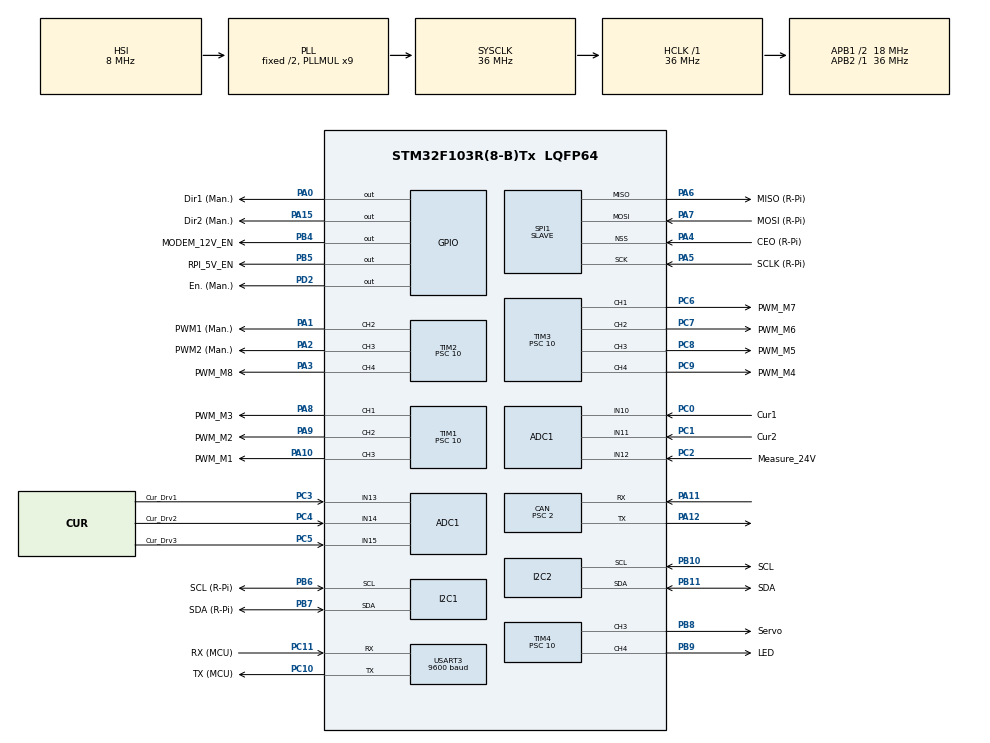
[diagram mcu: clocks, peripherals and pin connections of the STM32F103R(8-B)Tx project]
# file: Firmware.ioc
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ADC1.Channel-2\#ChannelRegularConversion=ADC_CHANNEL_10
ADC1.Channel-3\#ChannelRegularConversion=ADC_CHANNEL_11
ADC1.Channel-4\#ChannelRegularConversion=ADC_CHANNEL_12
ADC1.Channel-5\#ChannelRegularConversion=ADC_CHANNEL_13
ADC1.Channel-6\#ChannelRegularConversion=ADC_CHANNEL_14
ADC1.Channel-7\#ChannelRegularConversion=ADC_CHANNEL_15
ADC1.NbrOfConversion=6
ADC1.NbrOfConversionFlag=1
ADC1.Rank-2\#ChannelRegularConversion=1
ADC1.Rank-3\#ChannelRegularConversion=2
ADC1.Rank-4\#ChannelRegularConversion=3
ADC1.Rank-5\#ChannelRegularConversion=4
ADC1.Rank-6\#ChannelRegularConversion=5
ADC1.Rank-7\#ChannelRegularConversion=6
ADC1.SamplingTime-2\#ChannelRegularConversion=ADC_SAMPLETIME_28CYCLES_5
ADC1.SamplingTime-3\#ChannelRegularConversion=ADC_SAMPLETIME_28CYCLES_5
ADC1.SamplingTime-4\#ChannelRegularConversion=ADC_SAMPLETIME_28CYCLES_5
ADC1.SamplingTime-5\#ChannelRegularConversion=ADC_SAMPLETIME_28CYCLES_5
ADC1.SamplingTime-6\#ChannelRegularConversion=ADC_SAMPLETIME_28CYCLES_5
ADC1.SamplingTime-7\#ChannelRegularConversion=ADC_SAMPLETIME_28CYCLES_5
ADC1.master=1
CAN.BS1=CAN_BS1_7TQ
CAN.CalculateBaudRate=1000000
CAN.CalculateTimeBit=1000
CAN.CalculateTimeQuantum=111.11111111111111
CAN.Mode=CAN_MODE_NORMAL
CAN.Prescaler=2
CAN.SJW=CAN_SJW_1TQ
Dma.ADC1.0.Direction=DMA_PERIPH_TO_MEMORY
Dma.ADC1.0.Instance=DMA1_Channel1
Dma.ADC1.0.MemDataAlignment=DMA_MDATAALIGN_HALFWORD
Dma.ADC1.0.MemInc=DMA_MINC_ENABLE
Dma.ADC1.0.Mode=DMA_NORMAL
Dma.ADC1.0.PeriphDataAlignment=DMA_PDATAALIGN_HALFWORD
Dma.ADC1.0.PeriphInc=DMA_PINC_DISABLE
Dma.ADC1.0.Priority=DMA_PRIORITY_LOW
Dma.Request0=ADC1
Dma.Request1=SPI1_TX
Dma.Request2=SPI1_RX
Dma.SPI1_RX.2.Direction=DMA_PERIPH_TO_MEMORY
Dma.SPI1_RX.2.Instance=DMA1_Channel2
Dma.SPI1_RX.2.MemDataAlignment=DMA_MDATAALIGN_BYTE
Dma.SPI1_RX.2.MemInc=DMA_MINC_ENABLE
Dma.SPI1_RX.2.Mode=DMA_NORMAL
Dma.SPI1_RX.2.PeriphDataAlignment=DMA_PDATAALIGN_BYTE
Dma.SPI1_RX.2.PeriphInc=DMA_PINC_DISABLE
Dma.SPI1_RX.2.Priority=DMA_PRIORITY_VERY_HIGH
Dma.SPI1_TX.1.Direction=DMA_MEMORY_TO_PERIPH
Dma.SPI1_TX.1.Instance=DMA1_Channel3
Dma.SPI1_TX.1.MemDataAlignment=DMA_MDATAALIGN_BYTE
Dma.SPI1_TX.1.MemInc=DMA_MINC_ENABLE
Dma.SPI1_TX.1.Mode=DMA_NORMAL
Dma.SPI1_TX.1.PeriphDataAlignment=DMA_PDATAALIGN_BYTE
Dma.SPI1_TX.1.PeriphInc=DMA_PINC_DISABLE
Dma.SPI1_TX.1.Priority=DMA_PRIORITY_VERY_HIGH
Mcu.Family=STM32F1
Mcu.Name=STM32F103R(8-B)Tx
Mcu.Package=LQFP64
NVIC.DMA1_Channel1_IRQn=true\:0\:0\:false\:false\:true\:false\:true\:true
NVIC.DMA1_Channel2_IRQn=true\:0\:0\:false\:false\:true\:false\:true\:true
NVIC.DMA1_Channel3_IRQn=true\:0\:0\:false\:false\:true\:false\:true\:true
NVIC.I2C1_ER_IRQn=true\:0\:0\:false\:false\:true\:true\:true\:true
NVIC.I2C1_EV_IRQn=true\:0\:0\:false\:false\:true\:true\:true\:true
NVIC.I2C2_ER_IRQn=true\:0\:0\:false\:false\:true\:true\:true\:true
NVIC.I2C2_EV_IRQn=true\:0\:0\:false\:false\:true\:true\:true\:true
NVIC.PriorityGroup=NVIC_PRIORITYGROUP_4
NVIC.USART3_IRQn=true\:0\:0\:false\:false\:true\:true\:true\:true
NVIC.USB_LP_CAN1_RX0_IRQn=true\:0\:0\:false\:false\:true\:true\:true\:true
PA0-WKUP.GPIO_Label=Dir1 (Man.)
PA0-WKUP.Signal=GPIO_Output
PA1.GPIO_Label=PWM1 (Man.)
PA1.GPIO_Speed=GPIO_SPEED_FREQ_HIGH
PA1.Signal=S_TIM2_CH2
PA10.GPIO_Label=PWM_M1
PA10.GPIO_Speed=GPIO_SPEED_FREQ_HIGH
PA10.Signal=S_TIM1_CH3
PA11.Mode=CAN_Activate
PA11.Signal=CAN_RX
PA12.Mode=CAN_Activate
PA12.Signal=CAN_TX
PA13.Mode=Serial_Wire
PA13.Signal=SYS_JTMS-SWDIO
PA14.Mode=Serial_Wire
PA14.Signal=SYS_JTCK-SWCLK
PA15.GPIO_Label=Dir2 (Man.)
PA15.Signal=GPIO_Output
PA2.GPIO_Label=PWM2 (Man.)
PA2.GPIO_Speed=GPIO_SPEED_FREQ_HIGH
PA2.Signal=S_TIM2_CH3
PA3.GPIO_Label=PWM_M8
PA3.GPIO_Speed=GPIO_SPEED_FREQ_HIGH
PA3.Signal=S_TIM2_CH4
PA4.GPIO_Label=CEO (R-Pi)
PA4.Mode=NSS_Signal_Hard_Input
PA4.Signal=SPI1_NSS
PA5.GPIO_Label=SCLK (R-Pi)
PA5.Mode=Full_Duplex_Slave
PA5.Signal=SPI1_SCK
PA6.GPIO_Label=MISO (R-Pi)
PA6.Mode=Full_Duplex_Slave
PA6.Signal=SPI1_MISO
PA7.GPIO_Label=MOSI (R-Pi)
PA7.Mode=Full_Duplex_Slave
PA7.Signal=SPI1_MOSI
PA8.GPIO_Label=PWM_M3
PA8.GPIO_Speed=GPIO_SPEED_FREQ_HIGH
PA8.Signal=S_TIM1_CH1
PA9.GPIO_Label=PWM_M2
PA9.GPIO_Speed=GPIO_SPEED_FREQ_HIGH
PA9.Signal=S_TIM1_CH2
PB10.GPIO_Label=SCL
PB10.Mode=I2C
PB10.Signal=I2C2_SCL
PB11.GPIO_Label=SDA
PB11.Mode=I2C
PB11.Signal=I2C2_SDA
PB4.GPIO_Label=MODEM_12V_EN
PB4.Signal=GPIO_Output
PB5.GPIO_Label=RPI_5V_EN
PB5.Signal=GPIO_Output
PB6.GPIO_Label=SCL (R-Pi)
PB6.Mode=I2C
PB6.Signal=I2C1_SCL
PB7.GPIO_Label=SDA (R-Pi)
PB7.Mode=I2C
PB7.Signal=I2C1_SDA
PB8.GPIO_Label=Servo
PB8.GPIO_Speed=GPIO_SPEED_FREQ_HIGH
PB8.Signal=S_TIM4_CH3
PB9.GPIO_Label=LED
PB9.GPIO_Speed=GPIO_SPEED_FREQ_HIGH
PB9.Signal=S_TIM4_CH4
PC0.GPIO_Label=Cur1
PC0.Signal=ADCx_IN10
PC1.GPIO_Label=Cur2
PC1.Signal=ADCx_IN11
PC10.GPIO_Label=TX (MCU)
PC10.Mode=Asynchronous
PC10.Signal=USART3_TX
PC11.GPIO_Label=RX (MCU)
PC11.Mode=Asynchronous
PC11.Signal=USART3_RX
PC2.GPIO_Label=Measure_24V
PC2.Signal=ADCx_IN12
PC3.GPIO_Label=Cur_Drv1
PC3.Signal=ADCx_IN13
PC4.GPIO_Label=Cur_Drv2
PC4.Signal=ADCx_IN14
PC5.GPIO_Label=Cur_Drv3
PC5.Signal=ADCx_IN15
PC6.GPIO_Label=PWM_M7
PC6.GPIO_Speed=GPIO_SPEED_FREQ_HIGH
PC6.Signal=S_TIM3_CH1
PC7.GPIO_Label=PWM_M6
PC7.GPIO_Speed=GPIO_SPEED_FREQ_HIGH
PC7.Signal=S_TIM3_CH2
PC8.GPIO_Label=PWM_M5
PC8.GPIO_Speed=GPIO_SPEED_FREQ_HIGH
PC8.Signal=S_TIM3_CH3
PC9.GPIO_Label=PWM_M4
PC9.GPIO_Speed=GPIO_SPEED_FREQ_HIGH
PC9.Signal=S_TIM3_CH4
PD2.GPIO_Label=En. (Man.)
PD2.Signal=GPIO_Output
ProjectManager.HeapSize=0x200
ProjectManager.StackSize=0x400
ProjectManager.TargetToolchain=MDK-ARM V5.32
RCC.ADCPresc=RCC_ADCPCLK2_DIV4
RCC.AHBFreq_Value=36000000
RCC.APB1CLKDivider=RCC_HCLK_DIV2
RCC.APB1Freq_Value=18000000
RCC.APB1TimFreq_Value=36000000
RCC.APB2Freq_Value=36000000
RCC.APB2TimFreq_Value=36000000
RCC.HCLKFreq_Value=36000000
RCC.PLLMUL=RCC_PLL_MUL9
RCC.SYSCLKFreq_VALUE=36000000
RCC.SYSCLKSource=RCC_SYSCLKSOURCE_PLLCLK
RCC.USBFreq_Value=36000000
SH.ADCx_IN10.0=ADC1_IN10,IN10
SH.ADCx_IN11.0=ADC1_IN11,IN11
SH.ADCx_IN12.0=ADC1_IN12,IN12
SH.ADCx_IN13.0=ADC1_IN13,IN13
SH.ADCx_IN14.0=ADC1_IN14,IN14
SH.ADCx_IN15.0=ADC1_IN15,IN15
SH.S_TIM1_CH1.0=TIM1_CH1,PWM Generation1 CH1
SH.S_TIM1_CH2.0=TIM1_CH2,PWM Generation2 CH2
SH.S_TIM1_CH3.0=TIM1_CH3,PWM Generation3 CH3
SH.S_TIM2_CH2.0=TIM2_CH2,PWM Generation2 CH2
SH.S_TIM2_CH3.0=TIM2_CH3,PWM Generation3 CH3
SH.S_TIM2_CH4.0=TIM2_CH4,PWM Generation4 CH4
SH.S_TIM3_CH1.0=TIM3_CH1,PWM Generation1 CH1
SH.S_TIM3_CH2.0=TIM3_CH2,PWM Generation2 CH2
SH.S_TIM3_CH3.0=TIM3_CH3,PWM Generation3 CH3
SH.S_TIM3_CH4.0=TIM3_CH4,PWM Generation4 CH4
SH.S_TIM4_CH3.0=TIM4_CH3,PWM Generation3 CH3
SH.S_TIM4_CH4.0=TIM4_CH4,PWM Generation4 CH4
SPI1.Direction=SPI_DIRECTION_2LINES
SPI1.Mode=SPI_MODE_SLAVE
SPI1.VirtualNSS=VM_NSSHARD
SPI1.VirtualType=VM_SLAVE
TIM1.Channel-PWM\ Generation1\ CH1=TIM_CHANNEL_1
TIM1.Channel-PWM\ Generation2\ CH2=TIM_CHANNEL_2
TIM1.Channel-PWM\ Generation3\ CH3=TIM_CHANNEL_3
TIM1.Prescaler=10
TIM2.Channel-PWM\ Generation2\ CH2=TIM_CHANNEL_2
TIM2.Channel-PWM\ Generation3\ CH3=TIM_CHANNEL_3
TIM2.Channel-PWM\ Generation4\ CH4=TIM_CHANNEL_4
TIM2.Prescaler=10
TIM3.Channel-PWM\ Generation1\ CH1=TIM_CHANNEL_1
TIM3.Channel-PWM\ Generation2\ CH2=TIM_CHANNEL_2
TIM3.Channel-PWM\ Generation3\ CH3=TIM_CHANNEL_3
TIM3.Channel-PWM\ Generation4\ CH4=TIM_CHANNEL_4
TIM3.Prescaler=10
TIM4.Channel-PWM\ Generation3\ CH3=TIM_CHANNEL_3
TIM4.Channel-PWM\ Generation4\ CH4=TIM_CHANNEL_4
TIM4.Prescaler=10
USART3.BaudRate=9600
USART3.VirtualMode=VM_ASYNC
VP_TIM1_VS_ClockSourceINT.Mode=Internal
VP_TIM2_VS_ClockSourceINT.Mode=Internal
VP_TIM3_VS_ClockSourceINT.Mode=Internal
VP_TIM4_VS_ClockSourceINT.Mode=Internal
board=custom

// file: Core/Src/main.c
/* USER CODE BEGIN Header */
/**
  ******************************************************************************
  * @file           : main.c
  * @brief          : Main program body
  ******************************************************************************
  * @attention
  *
  * Copyright (c) 2024 STMicroelectronics.
  * All rights reserved.
  *
  * This software is licensed under terms that can be found in the LICENSE file
  * in the root directory of this software component.
  * If no LICENSE file comes with this software, it is provided AS-IS.
  *
  ******************************************************************************
  */
/* USER CODE END Header */
#include "main.h"

/* USER CODE BEGIN Includes */
#include <stdio.h>
#include <string.h>
#include <stdbool.h>

#include "lsm6ds33.h"
#include "lis3mdl.h"
#include "minimu9.h"
/* USER CODE END Includes */

/* USER CODE BEGIN PTD */
// #define FOC_DRIVERS_MODE
// #define HYBRID_ROV_MODE

#define MAX_FLOAT16 (128.0f)
#define MIN_FLOAT16 (-MAX_FLOAT16)

#define UWMANIPULATOR_RPDO_COB_ID (0x200)
#define UWMANIPULATOR_CMD_ESC_FREQ (0x20)
#define UWMANIPULATOR_CMD_ESC_RPM (0x24)
#define UWMANIPULATOR_CMD_SERVO (0x30)
#define UWMANIPULATOR_CMD_SERVO_STEPPER (0x38)
#define UWMANIPULATOR_CMD_CURRENT (0x10)
#define UWMANIPULATOR_CMD_TORGUE (0x14)

#define UWMANIPULATOR_UNITS 3

typedef enum
{
  UWMANIPULATOR_GRIP_OPEN = 0,
  UWMANIPULATOR_GRIP_CLOSE = 1,
  UWMANIPULATOR_GRIP_STOP = 2,
} UWManipulator_GripStateTypeDef;

typedef struct
{
  struct
  {
    uint16_t fault_bits;
    float voltage_dc;
    float electrical_freq;
  } id18x_data[UWMANIPULATOR_UNITS];
  struct
  {
    float electrical_position;
    float workzone_counts;
  } id28x_data[UWMANIPULATOR_UNITS];
  struct
  {
    float phase_a_current;
    float phase_b_current;
  } id38x_data[UWMANIPULATOR_UNITS];
  float q[UWMANIPULATOR_UNITS];
  UWManipulator_GripStateTypeDef grip_state;
} UWManipulator_HandleTypeDef;

typedef struct __attribute__((packed))
{
  uint8_t MagicStart;
  uint64_t Flags;

  float DesMotServo[6];
  float DesCamServo;
  float DesLED[2];

#ifdef HYBRID_ROV_MODE
  float DesManQ[3];
  uint8_t DesManGripState;
  uint8_t Padding[141];
#else
  uint8_t Padding[154];
#endif

  uint8_t MagicEnd;
} SPI_ControlPackageTypeDef;

typedef struct __attribute__((packed))
{
  uint8_t MagicStart;
  uint64_t Flags;

  float IMUEuler[3];
  float IMUAccel[3];
  float IMUGyro[3];
  float IMUMagnet[3];
  float CurrentGeneral;
  float CurrentLightLeft;
  float CurrentLightRight;
  float Voltage24V;

  struct __attribute__((packed))
  {
    float Ia;
    float Ib;
    float Ic;
  } MotTelemetry[6];

#ifdef HYBRID_ROV_MODE
  struct __attribute__((packed))
  {
    float Ia;
    float Ib;
    float Voltage;
    float q;
  } ManTelemetry[3];
  uint8_t Padding[6];
#else
  uint8_t Padding[54];
#endif

  uint8_t MagicEnd;
} SPI_TelemetryPackageTypeDef;
/* USER CODE END PTD */

/* USER CODE BEGIN PD */
#define ADC_CHANNELS_NUM 6

#define SPI_BUFFER_SIZE sizeof(SPI_ControlPackageTypeDef)

#define SPI_CONTROL_PACKAGE_DES_MOT_SERVOx_FLAG (1 << 0)
#define SPI_CONTROL_PACKAGE_DES_CAM_SERVO_FLAG (1 << 1)
#define SPI_CONTROL_PACKAGE_DES_LED_FLAG (1 << 2)

#define SPI_CONTROL_PACKAGE_DES_MAN_Qx_FLAG(x) (1 << (3 + x))
#define SPI_CONTROL_PACKAGE_DES_MAN_GRIP_FLAG (1 << 6)

#define SPI_TELEMETRY_PACKAGE_IMU_EULERx_FLAG (1 << 0)
#define SPI_TELEMETRY_PACKAGE_IMU_ACCELx_FLAG (1 << 1)
#define SPI_TELEMETRY_PACKAGE_IMU_GYROx_FLAG (1 << 2)
#define SPI_TELEMETRY_PACKAGE_IMU_MAGNETx_FLAG (1 << 3)
#define SPI_TELEMETRY_PACKAGE_CURRENT_GENERAL_FLAG (1 << 4)
#define SPI_TELEMETRY_PACKAGE_CURRENT_LIGHT_LEFT_FLAG (1 << 5)
#define SPI_TELEMETRY_PACKAGE_CURRENT_LIGHT_RIGHT_FLAG (1 << 6)
#define SPI_TELEMETRY_PACKAGE_VOLTAGE_24V_FLAG (1 << 7)

#define SPI_TELEMETRY_PACKAGE_MOTx_PHASE_A_FLAG(x) (1 << (8 + x))
#define SPI_TELEMETRY_PACKAGE_MOTx_PHASE_B_FLAG(x) (1 << (14 + x))
#define SPI_TELEMETRY_PACKAGE_MOTx_PHASE_C_FLAG(x) (1 << (20 + x))

#ifdef HYBRID_ROV_MODE
#define SPI_TELEMETRY_PACKAGE_MAN_UNITx_VOLTAGE_FLAG(x) (1 << (26 + x))
#define SPI_TELEMETRY_PACKAGE_MAN_UNITx_PHASES_A_B_FLAG(x) (1 << (29 + x))
#define SPI_TELEMETRY_PACKAGE_MAN_UNITx_ANGLE_FLAG(x) (1 << (32 + x))
#endif
/* USER CODE END PD */

ADC_HandleTypeDef hadc1;
DMA_HandleTypeDef hdma_adc1;

CAN_HandleTypeDef hcan;

I2C_HandleTypeDef hi2c1;
I2C_HandleTypeDef hi2c2;

SPI_HandleTypeDef hspi1;
DMA_HandleTypeDef hdma_spi1_tx;
DMA_HandleTypeDef hdma_spi1_rx;

TIM_HandleTypeDef htim1;
TIM_HandleTypeDef htim2;
TIM_HandleTypeDef htim3;
TIM_HandleTypeDef htim4;

UART_HandleTypeDef huart3;

/* USER CODE BEGIN PV */
LSM6_HandleTypeDef hlsm6;
LIS3MDL_HandleTypeDef hlis3mdl;
MINIMU9_HandleTypeDef hminimu9;
UWManipulator_HandleTypeDef huwman;

static SPI_ControlPackageTypeDef spiRxData = {0};
static SPI_TelemetryPackageTypeDef spiTxData = {0};
static bool spiTxRxCpltStatus = true;

static uint16_t adcData[ADC_CHANNELS_NUM];
static bool adcConvCpltStatus = true;
/* USER CODE END PV */

void SystemClock_Config(void);
static void MX_GPIO_Init(void);
static void MX_DMA_Init(void);
static void MX_SPI1_Init(void);
static void MX_I2C1_Init(void);
static void MX_I2C2_Init(void);
static void MX_TIM1_Init(void);
static void MX_TIM2_Init(void);
static void MX_TIM3_Init(void);
static void MX_TIM4_Init(void);
static void MX_USART3_UART_Init(void);
static void MX_CAN_Init(void);
static void MX_ADC1_Init(void);
/* USER CODE BEGIN PFP */
int stdout_putchar(int ch);

static float Clamp(float value, float min, float max);

static uint16_t DutyCycleToCCRx(float duty);

static uint16_t ServoLoadToCCRx(float load);

void PWM_MOT1_SetServo(float load);
void PWM_MOT2_SetServo(float load);
void PWM_MOT3_SetServo(float load);
void PWM_MOT4_SetServo(float load);
void PWM_MOT5_SetServo(float load);
void PWM_MOT6_SetServo(float load);
void PWM_MOT7_SetServo(float load);
void PWM_MOT8_SetServo(float load);
HAL_StatusTypeDef PWM_MOTx_SetServo(uint8_t idx, float load);

void PWM_MAN1_SetDutyCycle(float duty);
void PWM_MAN2_SetDutyCycle(float duty);

void PWM_LED_SetDutyCycle(float duty);

void PWM_SERVO_SetServo(float load);

HAL_StatusTypeDef PACKAGE_GetDesMotCtrl(SPI_ControlPackageTypeDef *package,
                                        float servo[6]);
HAL_StatusTypeDef PACKAGE_GetDesCamServo(SPI_ControlPackageTypeDef *package,
                                         float *servo);
HAL_StatusTypeDef PACKAGE_GetDesLED(SPI_ControlPackageTypeDef *package,
                                    float led[2]);

#ifdef HYBRID_ROV_MODE
HAL_StatusTypeDef PACKAGE_GetDesManQ(SPI_ControlPackageTypeDef *package,
                                     uint8_t unit, float *q);
HAL_StatusTypeDef PACKAGE_GetDesManGripState(SPI_ControlPackageTypeDef *package,
                                             uint8_t *state);
#endif

HAL_StatusTypeDef PACKAGE_SetIMUEuler(SPI_TelemetryPackageTypeDef *package,
                                      float euler[3]);
HAL_StatusTypeDef PACKAGE_SetIMUAccel(SPI_TelemetryPackageTypeDef *package,
                                      float accel[3]);
HAL_StatusTypeDef PACKAGE_SetIMUGyro(SPI_TelemetryPackageTypeDef *package,
                                     float gyro[3]);
HAL_StatusTypeDef PACKAGE_SetIMUMagnet(SPI_TelemetryPackageTypeDef *package,
                                       float magnet[3]);
HAL_StatusTypeDef PACKAGE_SetCurrentGeneral(SPI_TelemetryPackageTypeDef *package,
                                            float current);
HAL_StatusTypeDef PACKAGE_SetCurrentLightLeft(
    SPI_TelemetryPackageTypeDef *package, float current);
HAL_StatusTypeDef PACKAGE_SetCurrentLightRight(
    SPI_TelemetryPackageTypeDef *package, float current);
HAL_StatusTypeDef PACKAGE_SetVoltage24V(SPI_TelemetryPackageTypeDef *package,
                                        float voltage);

#ifdef HYBRID_ROV_MODE
HAL_StatusTypeDef PACKAGE_SetMotCurrentPhaseA(
    SPI_TelemetryPackageTypeDef *package, uint8_t unit, float current);
HAL_StatusTypeDef PACKAGE_SetMotCurrentPhaseB(
    SPI_TelemetryPackageTypeDef *package, uint8_t unit, float current);
HAL_StatusTypeDef PACKAGE_SetMotCurrentPhaseC(
    SPI_TelemetryPackageTypeDef *package, uint8_t unit, float current);
HAL_StatusTypeDef PACKAGE_SetManVoltage(SPI_TelemetryPackageTypeDef *package,
                                        uint8_t unit, float voltage);
HAL_StatusTypeDef PACKAGE_SetManCurrents(SPI_TelemetryPackageTypeDef *package,
                                         uint8_t unit, float current[2]);
HAL_StatusTypeDef PACKAGE_SetManQ(SPI_TelemetryPackageTypeDef *package,
                                  uint8_t unit, float q);
#endif

HAL_StatusTypeDef PACKAGE_TelemetryPackageInit(
    SPI_TelemetryPackageTypeDef *package);

#ifdef HYBRID_ROV_MODE
static HAL_StatusTypeDef UWManipulator_SetRPM(UWManipulator_HandleTypeDef *huwman,
                                              uint8_t unit, float rpm);
static HAL_StatusTypeDef UWManipulator_SetStep(
    UWManipulator_HandleTypeDef *huwman, uint8_t unit, float step);
#endif
/* USER CODE END PFP */

/* USER CODE BEGIN 0 */
static float Clamp(float value, float min, float max)
{
  return (value < min) ? min : (value > max) ? max : value;
}

static uint16_t DutyCycleToCCRx(float duty)
{
  duty = Clamp(duty, 0.0, 100.0);
  return (uint16_t)((float)UINT16_MAX * (duty / 100.0f));
}

static uint16_t ServoLoadToCCRx(float load)
{
  load = Clamp(load, -100.0, 100.0);
  float in_min = -100.0;
  float in_max = 100.0;
  float out_min = 5.0;
  float out_max = 10.0;
  float duty =
      (load - in_min) * (out_max - out_min) / (in_max - in_min) + out_min;
  return DutyCycleToCCRx(duty);
}

void PWM_MOT1_SetServo(float load)
{
  WRITE_REG(TIM1->CCR3, ServoLoadToCCRx(load));
}

void PWM_MOT2_SetServo(float load)
{
  WRITE_REG(TIM1->CCR2, ServoLoadToCCRx(load));
}

void PWM_MOT3_SetServo(float load)
{
  WRITE_REG(TIM1->CCR1, ServoLoadToCCRx(load));
}

void PWM_MAN1_SetDutyCycle(float duty)
{
  WRITE_REG(TIM2->CCR2, DutyCycleToCCRx(duty));
}

void PWM_MAN2_SetDutyCycle(float duty)
{
  WRITE_REG(TIM2->CCR3, DutyCycleToCCRx(duty));
}

void PWM_MOT8_SetServo(float load)
{
  WRITE_REG(TIM2->CCR4, ServoLoadToCCRx(load));
}

void PWM_MOT4_SetServo(float load)
{
  WRITE_REG(TIM3->CCR4, ServoLoadToCCRx(load));
}

void PWM_MOT5_SetServo(float load)
{
  WRITE_REG(TIM3->CCR3, ServoLoadToCCRx(load));
}

void PWM_MOT6_SetServo(float load)
{
  WRITE_REG(TIM3->CCR2, ServoLoadToCCRx(load));
}

void PWM_MOT7_SetServo(float load)
{
  WRITE_REG(TIM3->CCR1, ServoLoadToCCRx(load));
}

void PWM_LED_SetDutyCycle(float duty)
{
  WRITE_REG(TIM4->CCR4, DutyCycleToCCRx(duty));
}

void PWM_SERVO_SetServo(float load)
{
  WRITE_REG(TIM4->CCR3, ServoLoadToCCRx(load));
}

HAL_StatusTypeDef PWM_MOTx_SetServo(uint8_t idx, float load)
{
  if (idx >= 6)
    return HAL_ERROR;
  if (idx == 0)
  {
    PWM_MOT2_SetServo(load);
  }
  else if (idx == 1)
  {
    PWM_MOT3_SetServo(load);
  }
  else if (idx == 2)
  {
    PWM_MOT4_SetServo(load);
  }
  else if (idx == 3)
  {
    PWM_MOT5_SetServo(load);
  }
  else if (idx == 4)
  {
    PWM_MOT6_SetServo(load);
  }
  else if (idx == 5)
  {
    PWM_MOT7_SetServo(load);
  }
  return HAL_OK;
}

HAL_StatusTypeDef PACKAGE_GetDesMotCtrl(SPI_ControlPackageTypeDef *package,
                                        float servo[6])
{
  if (package->Flags & SPI_CONTROL_PACKAGE_DES_MOT_SERVOx_FLAG)
  {
    for (size_t idx = 0; idx < 6; idx++)
    {
      servo[idx] = package->DesMotServo[idx];
    }
    package->Flags &= ~SPI_CONTROL_PACKAGE_DES_MOT_SERVOx_FLAG;
    return HAL_OK;
  }
  return HAL_ERROR;
}

HAL_StatusTypeDef PACKAGE_GetDesCamServo(SPI_ControlPackageTypeDef *package,
                                         float *servo)
{
  if (package->Flags & SPI_CONTROL_PACKAGE_DES_CAM_SERVO_FLAG)
  {
    *servo = package->DesCamServo;
    package->Flags &= ~SPI_CONTROL_PACKAGE_DES_CAM_SERVO_FLAG;
    return HAL_OK;
  }
  return HAL_OK;
}

HAL_StatusTypeDef PACKAGE_GetDesLED(SPI_ControlPackageTypeDef *package,
                                    float led[2])
{
  if (package->Flags & SPI_CONTROL_PACKAGE_DES_LED_FLAG)
  {
    for (size_t idx = 0; idx < 2; idx++)
    {
      led[idx] = package->DesLED[idx];
    }
    package->Flags &= ~SPI_CONTROL_PACKAGE_DES_LED_FLAG;
    return HAL_OK;
  }
  return HAL_ERROR;
}

#ifdef HYBRID_ROV_MODE
HAL_StatusTypeDef PACKAGE_GetDesManQ(SPI_ControlPackageTypeDef *package,
                                     uint8_t unit, float *q)
{
  if (package->Flags & SPI_CONTROL_PACKAGE_DES_MAN_Qx_FLAG(unit))
  {
    *q = package->DesManQ[unit];
    package->Flags &= ~SPI_CONTROL_PACKAGE_DES_MAN_Qx_FLAG(unit);
    return HAL_OK;
  }
  return HAL_ERROR;
}

HAL_StatusTypeDef PACKAGE_GetDesManGripState(SPI_ControlPackageTypeDef *package,
                                             uint8_t *state)
{
  if (package->Flags & SPI_CONTROL_PACKAGE_DES_MAN_GRIP_FLAG)
  {
    *state = package->DesManGripState;
    package->Flags &= ~SPI_CONTROL_PACKAGE_DES_MAN_GRIP_FLAG;
    return HAL_OK;
  }
  return HAL_ERROR;
}
#endif

HAL_StatusTypeDef PACKAGE_SetIMUEuler(SPI_TelemetryPackageTypeDef *package,
                                      float euler[3])
{
  for (size_t idx = 0; idx < 3; idx++)
  {
    package->IMUEuler[idx] = euler[idx];
  }
  package->Flags |= SPI_TELEMETRY_PACKAGE_IMU_EULERx_FLAG;
  return HAL_OK;
}

HAL_StatusTypeDef PACKAGE_SetIMUAccel(SPI_TelemetryPackageTypeDef *package,
                                      float accel[3])
{
  for (size_t idx = 0; idx < 3; idx++)
  {
    package->IMUAccel[idx] = accel[idx];
  }
  package->Flags |= SPI_TELEMETRY_PACKAGE_IMU_ACCELx_FLAG;
  return HAL_OK;
}

HAL_StatusTypeDef PACKAGE_SetIMUGyro(SPI_TelemetryPackageTypeDef *package,
                                     float gyro[3])
{
  for (size_t idx = 0; idx < 3; idx++)
  {
    package->IMUGyro[idx] = gyro[idx];
  }
  package->Flags |= SPI_TELEMETRY_PACKAGE_IMU_GYROx_FLAG;
  return HAL_OK;
}

HAL_StatusTypeDef PACKAGE_SetIMUMagnet(SPI_TelemetryPackageTypeDef *package,
                                       float magnet[3])
{
  for (size_t idx = 0; idx < 3; idx++)
  {
    package->IMUMagnet[idx] = magnet[idx];
  }
  package->Flags |= SPI_TELEMETRY_PACKAGE_IMU_MAGNETx_FLAG;
  return HAL_OK;
}

HAL_StatusTypeDef PACKAGE_SetCurrentGeneral(SPI_TelemetryPackageTypeDef *package,
                                            float current)
{
  package->CurrentGeneral = current;
  package->Flags |= SPI_TELEMETRY_PACKAGE_CURRENT_GENERAL_FLAG;
  return HAL_OK;
}

HAL_StatusTypeDef PACKAGE_SetCurrentLightLeft(
    SPI_TelemetryPackageTypeDef *package, float current)
{
  package->CurrentLightLeft = current;
  package->Flags |= SPI_TELEMETRY_PACKAGE_CURRENT_LIGHT_LEFT_FLAG;
  return HAL_OK;
}

HAL_StatusTypeDef PACKAGE_SetCurrentLightRight(
    SPI_TelemetryPackageTypeDef *package, float current)
{
  package->CurrentLightRight = current;
  package->Flags |= SPI_TELEMETRY_PACKAGE_CURRENT_LIGHT_RIGHT_FLAG;
  return HAL_OK;
}

HAL_StatusTypeDef PACKAGE_SetVoltage24V(SPI_TelemetryPackageTypeDef *package,
                                        float voltage)
{
  package->Voltage24V = voltage;
  package->Flags |= SPI_TELEMETRY_PACKAGE_VOLTAGE_24V_FLAG;
  return HAL_OK;
}

HAL_StatusTypeDef PACKAGE_SetMotCurrentPhaseA(
    SPI_TelemetryPackageTypeDef *package, uint8_t unit, float current)
{
  package->MotTelemetry[unit].Ia = current;
  package->Flags |= SPI_TELEMETRY_PACKAGE_MOTx_PHASE_A_FLAG(unit);
  return HAL_OK;
}

HAL_StatusTypeDef PACKAGE_SetMotCurrentPhaseB(
    SPI_TelemetryPackageTypeDef *package, uint8_t unit, float current)
{
  package->MotTelemetry[unit].Ib = current;
  package->Flags |= SPI_TELEMETRY_PACKAGE_MOTx_PHASE_B_FLAG(unit);
  return HAL_OK;
}

HAL_StatusTypeDef PACKAGE_SetMotCurrentPhaseC(
    SPI_TelemetryPackageTypeDef *package, uint8_t unit, float current)
{
  package->MotTelemetry[unit].Ic = current;
  package->Flags |= SPI_TELEMETRY_PACKAGE_MOTx_PHASE_C_FLAG(unit);
  return HAL_OK;
}

#ifdef HYBRID_ROV_MODE
HAL_StatusTypeDef PACKAGE_SetManVoltage(SPI_TelemetryPackageTypeDef *package,
                                        uint8_t unit, float voltage)
{
  package->ManTelemetry[unit].Voltage = voltage;
  package->Flags |= SPI_TELEMETRY_PACKAGE_MAN_UNITx_VOLTAGE_FLAG(unit);
  return HAL_OK;
}

HAL_StatusTypeDef PACKAGE_SetManCurrents(SPI_TelemetryPackageTypeDef *package,
                                         uint8_t unit, float current[2])
{
  package->ManTelemetry[unit].Ia = current[0];
  package->ManTelemetry[unit].Ib = current[1];
  package->Flags |= SPI_TELEMETRY_PACKAGE_MAN_UNITx_PHASES_A_B_FLAG(unit);
  return HAL_OK;
}

HAL_StatusTypeDef PACKAGE_SetManAngle(SPI_TelemetryPackageTypeDef *package,
                                      uint8_t unit, float angle)
{
  package->ManTelemetry[unit].q = angle;
  package->Flags |= SPI_TELEMETRY_PACKAGE_MAN_UNITx_ANGLE_FLAG(unit);
  return HAL_OK;
}
#endif

HAL_StatusTypeDef PACKAGE_TelemetryPackageInit(
    SPI_TelemetryPackageTypeDef *package)
{
  if (package == NULL)
    return HAL_ERROR;
  package->MagicStart = 0xAB;
  package->MagicEnd = 0xCD;
  return HAL_OK;
}

HAL_StatusTypeDef PACKAGE_ControlPackageCheck(SPI_ControlPackageTypeDef *package)
{
  if (package == NULL)
    return HAL_ERROR;
  if (package->MagicStart != 0xAB)
    return HAL_ERROR;
  if (package->MagicEnd != 0xCD)
    return HAL_ERROR;
  return HAL_OK;
}

static HAL_StatusTypeDef FOC_MOTx_SetRPM(uint8_t idx, float rpm)
{
  if (idx >= 6)
    return HAL_ERROR;

  while (HAL_CAN_GetTxMailboxesFreeLevel(&hcan) == 0)
    ;
  CAN_TxHeaderTypeDef msgHeader;
  msgHeader.StdId = 0x521 + idx;
  msgHeader.DLC = 8;
  msgHeader.TransmitGlobalTime = DISABLE;
  msgHeader.RTR = CAN_RTR_DATA;
  msgHeader.IDE = CAN_ID_STD;

  uint32_t mailBoxNum = 0;
  uint8_t msgData[8] = {0};
  memcpy(msgData, &rpm, sizeof(float));

  HAL_CAN_AddTxMessage(&hcan, &msgHeader, msgData, &mailBoxNum);

  return HAL_OK;
}

#ifdef HYBRID_ROV_MODE
HAL_StatusTypeDef UWManipulator_UpdateTelemetryID18x(
    UWManipulator_HandleTypeDef *huwman, uint8_t *data, uint8_t unit)
{
  if (data != NULL)
  {
    memcpy(&huwman->id18x_data[unit].fault_bits, &data[0], sizeof(uint16_t));
    int16_t voltage_dc_bits = ((int16_t)data[3] << 8) | data[2];
    huwman->id18x_data[unit].voltage_dc =
        (float)(voltage_dc_bits) * (MAX_FLOAT16 / 32767.0f);
    memcpy(&huwman->id18x_data[unit].electrical_freq, &data[4], sizeof(float));
  }

  return HAL_OK;
}

HAL_StatusTypeDef UWManipulator_UpdateTelemetryID28x(
    UWManipulator_HandleTypeDef *huwman, uint8_t *data, uint8_t unit)
{
  if (data != NULL)
  {
    memcpy(&huwman->id28x_data[unit].electrical_position, &data[0],
           sizeof(float));
    memcpy(&huwman->id28x_data[unit].workzone_counts, &data[4], sizeof(float));
    huwman->q[unit] =
        2.0f * 3.14f * huwman->id28x_data[unit].workzone_counts / 131072.0f;
  }

  return HAL_OK;
}

HAL_StatusTypeDef UWManipulator_UpdateTelemetryID38x(
    UWManipulator_HandleTypeDef *huwman, uint8_t *data, uint8_t unit)
{
  if (data != NULL)
  {
    memcpy(&huwman->id38x_data[unit].phase_a_current, &data[0], sizeof(float));
    memcpy(&huwman->id38x_data[unit].phase_b_current, &data[4], sizeof(float));
  }

  return HAL_OK;
}

static HAL_StatusTypeDef UWManipulator_SetRPM(UWManipulator_HandleTypeDef *huwman,
                                              uint8_t unit, float rpm)
{
  if (unit >= 3)
    return HAL_ERROR;

  while (HAL_CAN_GetTxMailboxesFreeLevel(&hcan) == 0)
    ;
  uint8_t msgData[8] = {0};
  uint32_t mailBoxNum = 0;
  CAN_TxHeaderTypeDef msgHeader;
  msgHeader.StdId = UWMANIPULATOR_RPDO_COB_ID | unit + 0x001;
  msgHeader.DLC = 8;
  msgHeader.TransmitGlobalTime = DISABLE;
  msgHeader.RTR = CAN_RTR_DATA;
  msgHeader.IDE = CAN_ID_STD;

  msgData[0] = UWMANIPULATOR_CMD_ESC_RPM;
  memcpy(&msgData[4], &rpm, sizeof(float));

  HAL_CAN_AddTxMessage(&hcan, &msgHeader, msgData, &mailBoxNum);

  return HAL_OK;
}

static HAL_StatusTypeDef UWManipulator_SetPosition(
    UWManipulator_HandleTypeDef *huwman, uint8_t unit, float pose)
{
  if (unit >= 3)
    return HAL_ERROR;

  while (HAL_CAN_GetTxMailboxesFreeLevel(&hcan) == 0)
    ;
  uint8_t msgData[8] = {0};
  uint32_t mailBoxNum = 0;
  CAN_TxHeaderTypeDef msgHeader;
  msgHeader.StdId = UWMANIPULATOR_RPDO_COB_ID | unit + 0x001;
  msgHeader.DLC = 8;
  msgHeader.TransmitGlobalTime = DISABLE;
  msgHeader.RTR = CAN_RTR_DATA;
  msgHeader.IDE = CAN_ID_STD;

  float counts = pose * 131072.0f / (2.0f * 3.14f);
  msgData[0] = UWMANIPULATOR_CMD_SERVO;
  memcpy(&msgData[4], &counts, sizeof(float));

  HAL_CAN_AddTxMessage(&hcan, &msgHeader, msgData, &mailBoxNum);

  return HAL_OK;
}

static HAL_StatusTypeDef UWManipulator_SetStep(
    UWManipulator_HandleTypeDef *huwman, uint8_t unit, float step)
{
  if (unit >= 3)
    return HAL_ERROR;

  while (HAL_CAN_GetTxMailboxesFreeLevel(&hcan) == 0)
    ;
  uint8_t msgData[8] = {0};
  uint32_t mailBoxNum = 0;
  CAN_TxHeaderTypeDef msgHeader;
  msgHeader.StdId = UWMANIPULATOR_RPDO_COB_ID | unit + 0x001;
  msgHeader.DLC = 8;
  msgHeader.TransmitGlobalTime = DISABLE;
  msgHeader.RTR = CAN_RTR_DATA;
  msgHeader.IDE = CAN_ID_STD;

  msgData[0] = UWMANIPULATOR_CMD_SERVO_STEPPER;
  memcpy(&msgData[4], &step, sizeof(float));

  HAL_CAN_AddTxMessage(&hcan, &msgHeader, msgData, &mailBoxNum);

  return HAL_OK;
}

static HAL_StatusTypeDef UWManipulator_SetGripState(
    UWManipulator_HandleTypeDef *huwman, uint8_t state)
{
  if (state == UWMANIPULATOR_GRIP_OPEN)
  {
    PWM_MOT1_SetServo(75.0f);
  }
  else if (state == UWMANIPULATOR_GRIP_CLOSE)
  {
    PWM_MOT1_SetServo(-75.0f);
  }
  else if (state == UWMANIPULATOR_GRIP_STOP)
  {
    PWM_MOT1_SetServo(0.0f);
  }
  else
  {
    return HAL_ERROR;
  }

  return HAL_OK;
}
#endif

void HAL_SPI_TxRxCpltCallback(SPI_HandleTypeDef *hspi)
{
  if (hspi->Instance == SPI1)
  {
    spiTxData.Flags = 0;
    spiTxRxCpltStatus = true;
  }
}

void HAL_CAN_RxFifo0MsgPendingCallback(CAN_HandleTypeDef *hcan)
{
  CAN_RxHeaderTypeDef msgHeader;
  uint8_t msgData[8];

  HAL_CAN_GetRxMessage(hcan, CAN_RX_FIFO0, &msgHeader, msgData);

#ifdef HYBRID_ROV_MODE
  for (size_t unit = 0; unit < UWMANIPULATOR_UNITS; unit++)
  {
    if (msgHeader.StdId == (0x181 + unit))
    {
      UWManipulator_UpdateTelemetryID18x(&huwman, msgData, unit);
      float voltage = huwman.id18x_data[unit].voltage_dc;
      PACKAGE_SetManVoltage(&spiTxData, unit, voltage);
      return;
    }

    if (msgHeader.StdId == (0x281 + unit))
    {
      UWManipulator_UpdateTelemetryID28x(&huwman, msgData, unit);
      PACKAGE_SetManAngle(&spiTxData, unit, huwman.q[unit]);
      return;
    }

    if (msgHeader.StdId == (0x381 + unit))
    {
      UWManipulator_UpdateTelemetryID38x(&huwman, msgData, unit);
      float currents[] = {huwman.id38x_data[unit].phase_a_current,
                          huwman.id38x_data[unit].phase_b_current};
      PACKAGE_SetManCurrents(&spiTxData, unit, currents);
      return;
    }
  }
#endif

  for (size_t idx = 0; idx < 6; idx++)
  {
    if (msgHeader.StdId == (0x481 + idx))
    {
      float phase_current = 0;
      memcpy(&phase_current, msgData, sizeof(float));
      PACKAGE_SetMotCurrentPhaseA(&spiTxData, idx, phase_current);
      return;
    }
    if (msgHeader.StdId == (0x581 + idx))
    {
      float phase_current = 0;
      memcpy(&phase_current, msgData, sizeof(float));
      PACKAGE_SetMotCurrentPhaseB(&spiTxData, idx, phase_current);
      return;
    }
    if (msgHeader.StdId == (0x681 + idx))
    {
      float phase_current = 0;
      memcpy(&phase_current, msgData, sizeof(float));
      PACKAGE_SetMotCurrentPhaseC(&spiTxData, idx, phase_current);
      return;
    }
  }
}

void TxMailbox0CompleteCallback(CAN_HandleTypeDef *hcan)
{
}

void TxMailbox1CompleteCallback(CAN_HandleTypeDef *hcan)
{
}

void TxMailbox2CompleteCallback(CAN_HandleTypeDef *hcan)
{
}

void HAL_ADC_ConvCpltCallback(ADC_HandleTypeDef *hadc)
{
  if (hadc->Instance == ADC1)
  {
    PACKAGE_SetCurrentLightLeft(&spiTxData, (float)adcData[0]);
    PACKAGE_SetCurrentLightRight(&spiTxData, (float)adcData[1]);
    float voltage = 4.1956e-06 * (float)adcData[2] * (float)adcData[2] -
                    0.0057 * (float)adcData[2] + 12.9609;
    PACKAGE_SetVoltage24V(&spiTxData, voltage);
    PACKAGE_SetCurrentGeneral(&spiTxData, (float)adcData[3]);
    adcConvCpltStatus = true;
  }
}

/* USER CODE END 0 */

int main(void)
{
  /* USER CODE BEGIN 1 */
  PACKAGE_TelemetryPackageInit(&spiTxData);
  /* USER CODE END 1 */

  /* MCU Configuration--------------------------------------------------------*/

  /* Reset of all peripherals, Initializes the Flash interface and the Systick. */
  HAL_Init();

  /* Configure the system clock */
  SystemClock_Config();

  /* Initialize all configured peripherals */
  MX_GPIO_Init();
  MX_DMA_Init();
  MX_SPI1_Init();
  MX_I2C1_Init();
  MX_I2C2_Init();
  MX_TIM1_Init();
  MX_TIM2_Init();
  MX_TIM3_Init();
  MX_TIM4_Init();
  MX_USART3_UART_Init();
  MX_CAN_Init();
  MX_ADC1_Init();
  /* USER CODE BEGIN 2 */
  HAL_GPIO_WritePin(RPI_5V_EN_GPIO_Port, RPI_5V_EN_Pin, GPIO_PIN_SET);
  HAL_GPIO_WritePin(MODEM_12V_EN_GPIO_Port, MODEM_12V_EN_Pin, GPIO_PIN_SET);
  HAL_Delay(40000);

  LSM6_Init(&hlsm6, &hi2c1);
  LIS3MDL_Init(&hlis3mdl, &hi2c1);
  MINIMU9_Init(&hminimu9, &hlsm6, &hlis3mdl, 0.03f);

  HAL_TIM_PWM_Start(&htim1, TIM_CHANNEL_1);
  HAL_TIM_PWM_Start(&htim1, TIM_CHANNEL_2);
  HAL_TIM_PWM_Start(&htim1, TIM_CHANNEL_3);
  HAL_TIM_PWM_Start(&htim2, TIM_CHANNEL_2);
  HAL_TIM_PWM_Start(&htim2, TIM_CHANNEL_3);
  HAL_TIM_PWM_Start(&htim2, TIM_CHANNEL_4);
  HAL_TIM_PWM_Start(&htim3, TIM_CHANNEL_1);
  HAL_TIM_PWM_Start(&htim3, TIM_CHANNEL_2);
  HAL_TIM_PWM_Start(&htim3, TIM_CHANNEL_3);
  HAL_TIM_PWM_Start(&htim3, TIM_CHANNEL_4);
  HAL_TIM_PWM_Start(&htim4, TIM_CHANNEL_3);
  HAL_TIM_PWM_Start(&htim4, TIM_CHANNEL_4);

  for (uint8_t idx = 0; idx < 6; idx++)
  {
    PWM_MOTx_SetServo(idx, 0);
  }
  PWM_SERVO_SetServo(0);
  PWM_MAN1_SetDutyCycle(100);
  PWM_MAN2_SetDutyCycle(100);
  HAL_GPIO_WritePin(En__GPIO_Port, En__Pin, GPIO_PIN_SET);

  HAL_CAN_Start(&hcan);
  /* USER CODE END 2 */

  /* Infinite loop */
  while (1)
  {

    /* USER CODE BEGIN 3 */
    static uint32_t adc_counter = 0;
    if (adcConvCpltStatus && (adc_counter == 30))
    {
      HAL_ADC_Start_DMA(&hadc1, (uint32_t *)adcData, ADC_CHANNELS_NUM);
      adcConvCpltStatus = false;
      adc_counter = 0;
    }
    else
    {
      adc_counter++;
    }

    MINIMU9_Fusion(&hminimu9);

    float euler[] = {(180.0f / 3.14f) * hminimu9.Euler.x,
                     (180.0f / 3.14f) * hminimu9.Euler.y,
                     (180.0f / 3.14f) * hminimu9.Euler.z};

    float accel[] = {hminimu9.Accel.x, hminimu9.Accel.y, hminimu9.Accel.z};

    float gyro[] = {hminimu9.Gyro.x, hminimu9.Gyro.y, hminimu9.Gyro.z};

    float magnet[] = {hminimu9.Mag.x, hminimu9.Mag.y, hminimu9.Mag.z};

    PACKAGE_SetIMUEuler(&spiTxData, euler);
    PACKAGE_SetIMUAccel(&spiTxData, accel);
    PACKAGE_SetIMUGyro(&spiTxData, gyro);
    PACKAGE_SetIMUMagnet(&spiTxData, magnet);

#if 1
    if (true)
    // if (spiTxRxCpltStatus)
    {
      //HAL_SPI_TransmitReceive_DMA(&hspi1, (uint8_t *)&spiTxData,
      //                            (uint8_t *)&spiRxData, SPI_BUFFER_SIZE);
      HAL_SPI_TransmitReceive(&hspi1, (uint8_t *)&spiTxData,
                              (uint8_t *)&spiRxData, SPI_BUFFER_SIZE, 30);
      if (PACKAGE_ControlPackageCheck(&spiRxData) == HAL_OK)
      {
        float mot_ctrl[6];
        float cam_servo;
        float led[2];
        if (PACKAGE_GetDesMotCtrl(&spiRxData, mot_ctrl) == HAL_OK)
        {
          for (uint8_t idx = 0; idx < 6; idx++)
          {
#ifndef FOC_DRIVERS_MODE
            PWM_MOTx_SetServo(idx, mot_ctrl[idx]);
#else
            FOC_MOTx_SetRPM(idx, mot_ctrl[idx]);
#endif
          }
        }

#ifdef HYBRID_ROV_MODE
        for (uint8_t unit = 0; unit < UWMANIPULATOR_UNITS; unit++)
        {
          float angle = 0.0f;
          if (PACKAGE_GetDesManQ(&spiRxData, unit, &angle) == HAL_OK)
          {
            UWManipulator_SetPosition(&huwman, unit, angle);
          }
        }

        uint8_t state = 0;
        if (PACKAGE_GetDesManGripState(&spiRxData, &state) == HAL_OK)
        {
          UWManipulator_SetGripState(&huwman, state);
        }
#endif

        if (PACKAGE_GetDesCamServo(&spiRxData, &cam_servo) == HAL_OK)
        {
          PWM_SERVO_SetServo(cam_servo);
        }

        if (PACKAGE_GetDesLED(&spiRxData, led) == HAL_OK)
        {
          if (led[0] > 50.0f) {
            PWM_MAN1_SetDutyCycle(15.0f);
            HAL_GPIO_WritePin(Dir1_GPIO_Port, Dir1_Pin, GPIO_PIN_SET);
          } else {
            PWM_MAN1_SetDutyCycle(100.0f);
            HAL_GPIO_WritePin(Dir1_GPIO_Port, Dir1_Pin, GPIO_PIN_RESET);
          }
          if (led[1] > 50.0f) {
            PWM_MAN2_SetDutyCycle(15.0f);
            HAL_GPIO_WritePin(Dir2_GPIO_Port, Dir2_Pin, GPIO_PIN_SET);
          } else {
            PWM_MAN2_SetDutyCycle(100.0f);
            HAL_GPIO_WritePin(Dir2_GPIO_Port, Dir2_Pin, GPIO_PIN_RESET);
          }
        }
      }
     // spiTxRxCpltStatus = false;
    }
#endif
  }
  /* USER CODE END 3 */
}

void SystemClock_Config(void)
{
  RCC_OscInitTypeDef RCC_OscInitStruct = {0};
  RCC_ClkInitTypeDef RCC_ClkInitStruct = {0};
  RCC_PeriphCLKInitTypeDef PeriphClkInit = {0};

  /** Initializes the RCC Oscillators according to the specified parameters
  * in the RCC_OscInitTypeDef structure.
  */
  RCC_OscInitStruct.OscillatorType = RCC_OSCILLATORTYPE_HSI;
  RCC_OscInitStruct.HSIState = RCC_HSI_ON;
  RCC_OscInitStruct.HSICalibrationValue = RCC_HSICALIBRATION_DEFAULT;
  RCC_OscInitStruct.PLL.PLLState = RCC_PLL_ON;
  RCC_OscInitStruct.PLL.PLLSource = RCC_PLLSOURCE_HSI_DIV2;
  RCC_OscInitStruct.PLL.PLLMUL = RCC_PLL_MUL9;
  if (HAL_RCC_OscConfig(&RCC_OscInitStruct) != HAL_OK)
  {
    Error_Handler();
  }

  /** Initializes the CPU, AHB and APB buses clocks
  */
  RCC_ClkInitStruct.ClockType = RCC_CLOCKTYPE_HCLK|RCC_CLOCKTYPE_SYSCLK
                              |RCC_CLOCKTYPE_PCLK1|RCC_CLOCKTYPE_PCLK2;
  RCC_ClkInitStruct.SYSCLKSource = RCC_SYSCLKSOURCE_PLLCLK;
  RCC_ClkInitStruct.AHBCLKDivider = RCC_SYSCLK_DIV1;
  RCC_ClkInitStruct.APB1CLKDivider = RCC_HCLK_DIV2;
  RCC_ClkInitStruct.APB2CLKDivider = RCC_HCLK_DIV1;

  if (HAL_RCC_ClockConfig(&RCC_ClkInitStruct, FLASH_LATENCY_1) != HAL_OK)
  {
    Error_Handler();
  }
  PeriphClkInit.PeriphClockSelection = RCC_PERIPHCLK_ADC;
  PeriphClkInit.AdcClockSelection = RCC_ADCPCLK2_DIV4;
  if (HAL_RCCEx_PeriphCLKConfig(&PeriphClkInit) != HAL_OK)
  {
    Error_Handler();
  }
}

static void MX_ADC1_Init(void)
{

  ADC_ChannelConfTypeDef sConfig = {0};

  /** Common config
  */
  hadc1.Instance = ADC1;
  hadc1.Init.ScanConvMode = ADC_SCAN_ENABLE;
  hadc1.Init.ContinuousConvMode = DISABLE;
  hadc1.Init.DiscontinuousConvMode = DISABLE;
  hadc1.Init.ExternalTrigConv = ADC_SOFTWARE_START;
  hadc1.Init.DataAlign = ADC_DATAALIGN_RIGHT;
  hadc1.Init.NbrOfConversion = 6;
  if (HAL_ADC_Init(&hadc1) != HAL_OK)
  {
    Error_Handler();
  }

  /** Configure Regular Channel
  */
  sConfig.Channel = ADC_CHANNEL_10;
  sConfig.Rank = ADC_REGULAR_RANK_1;
  sConfig.SamplingTime = ADC_SAMPLETIME_28CYCLES_5;
  if (HAL_ADC_ConfigChannel(&hadc1, &sConfig) != HAL_OK)
  {
    Error_Handler();
  }

  /** Configure Regular Channel
  */
  sConfig.Channel = ADC_CHANNEL_11;
  sConfig.Rank = ADC_REGULAR_RANK_2;
  if (HAL_ADC_ConfigChannel(&hadc1, &sConfig) != HAL_OK)
  {
    Error_Handler();
  }

  /** Configure Regular Channel
  */
  sConfig.Channel = ADC_CHANNEL_12;
  sConfig.Rank = ADC_REGULAR_RANK_3;
  if (HAL_ADC_ConfigChannel(&hadc1, &sConfig) != HAL_OK)
  {
    Error_Handler();
  }

  /** Configure Regular Channel
  */
  sConfig.Channel = ADC_CHANNEL_13;
  sConfig.Rank = ADC_REGULAR_RANK_4;
  if (HAL_ADC_ConfigChannel(&hadc1, &sConfig) != HAL_OK)
  {
    Error_Handler();
  }

  /** Configure Regular Channel
  */
  sConfig.Channel = ADC_CHANNEL_14;
  sConfig.Rank = ADC_REGULAR_RANK_5;
  if (HAL_ADC_ConfigChannel(&hadc1, &sConfig) != HAL_OK)
  {
    Error_Handler();
  }

  /** Configure Regular Channel
  */
  sConfig.Channel = ADC_CHANNEL_15;
  sConfig.Rank = ADC_REGULAR_RANK_6;
  if (HAL_ADC_ConfigChannel(&hadc1, &sConfig) != HAL_OK)
  {
    Error_Handler();
  }

}

static void MX_CAN_Init(void)
{

  /* USER CODE BEGIN CAN_Init 0 */
  CAN_FilterTypeDef sFilterConfig = {0};
  sFilterConfig.FilterBank = 0;
  sFilterConfig.FilterMode = CAN_FILTERMODE_IDMASK;
  sFilterConfig.FilterScale = CAN_FILTERSCALE_32BIT;
  sFilterConfig.FilterIdHigh = 0x0000;
  sFilterConfig.FilterIdLow = 0x0000;
  sFilterConfig.FilterMaskIdHigh = 0x0000;
  sFilterConfig.FilterMaskIdLow = 0x0000;
  sFilterConfig.FilterFIFOAssignment = CAN_RX_FIFO0;
  sFilterConfig.FilterActivation = ENABLE;
  sFilterConfig.SlaveStartFilterBank = 14;
  /* USER CODE END CAN_Init 0 */

  hcan.Instance = CAN1;
  hcan.Init.Prescaler = 2;
  hcan.Init.Mode = CAN_MODE_NORMAL;
  hcan.Init.SyncJumpWidth = CAN_SJW_1TQ;
  hcan.Init.TimeSeg1 = CAN_BS1_7TQ;
  hcan.Init.TimeSeg2 = CAN_BS2_1TQ;
  hcan.Init.TimeTriggeredMode = DISABLE;
  hcan.Init.AutoBusOff = DISABLE;
  hcan.Init.AutoWakeUp = DISABLE;
  hcan.Init.AutoRetransmission = DISABLE;
  hcan.Init.ReceiveFifoLocked = DISABLE;
  hcan.Init.TransmitFifoPriority = DISABLE;
  if (HAL_CAN_Init(&hcan) != HAL_OK)
  {
    Error_Handler();
  }
  /* USER CODE BEGIN CAN_Init 2 */
  HAL_CAN_ConfigFilter(&hcan, &sFilterConfig);
  HAL_CAN_ActivateNotification(&hcan, CAN_IT_RX_FIFO0_MSG_PENDING);
  /* USER CODE END CAN_Init 2 */

}

static void MX_I2C1_Init(void)
{

  hi2c1.Instance = I2C1;
  hi2c1.Init.ClockSpeed = 100000;
  hi2c1.Init.DutyCycle = I2C_DUTYCYCLE_2;
  hi2c1.Init.OwnAddress1 = 0;
  hi2c1.Init.AddressingMode = I2C_ADDRESSINGMODE_7BIT;
  hi2c1.Init.DualAddressMode = I2C_DUALADDRESS_DISABLE;
  hi2c1.Init.OwnAddress2 = 0;
  hi2c1.Init.GeneralCallMode = I2C_GENERALCALL_DISABLE;
  hi2c1.Init.NoStretchMode = I2C_NOSTRETCH_DISABLE;
  if (HAL_I2C_Init(&hi2c1) != HAL_OK)
  {
    Error_Handler();
  }

}

static void MX_I2C2_Init(void)
{

  hi2c2.Instance = I2C2;
  hi2c2.Init.ClockSpeed = 100000;
  hi2c2.Init.DutyCycle = I2C_DUTYCYCLE_2;
  hi2c2.Init.OwnAddress1 = 0;
  hi2c2.Init.AddressingMode = I2C_ADDRESSINGMODE_7BIT;
  hi2c2.Init.DualAddressMode = I2C_DUALADDRESS_DISABLE;
  hi2c2.Init.OwnAddress2 = 0;
  hi2c2.Init.GeneralCallMode = I2C_GENERALCALL_DISABLE;
  hi2c2.Init.NoStretchMode = I2C_NOSTRETCH_DISABLE;
  if (HAL_I2C_Init(&hi2c2) != HAL_OK)
  {
    Error_Handler();
  }

}

static void MX_SPI1_Init(void)
{

  /* SPI1 parameter configuration*/
  hspi1.Instance = SPI1;
  hspi1.Init.Mode = SPI_MODE_SLAVE;
  hspi1.Init.Direction = SPI_DIRECTION_2LINES;
  hspi1.Init.DataSize = SPI_DATASIZE_8BIT;
  hspi1.Init.CLKPolarity = SPI_POLARITY_LOW;
  hspi1.Init.CLKPhase = SPI_PHASE_1EDGE;
  hspi1.Init.NSS = SPI_NSS_HARD_INPUT;
  hspi1.Init.FirstBit = SPI_FIRSTBIT_MSB;
  hspi1.Init.TIMode = SPI_TIMODE_DISABLE;
  hspi1.Init.CRCCalculation = SPI_CRCCALCULATION_DISABLE;
  hspi1.Init.CRCPolynomial = 10;
  if (HAL_SPI_Init(&hspi1) != HAL_OK)
  {
    Error_Handler();
  }

}

static void MX_TIM1_Init(void)
{

  TIM_ClockConfigTypeDef sClockSourceConfig = {0};
  TIM_MasterConfigTypeDef sMasterConfig = {0};
  TIM_OC_InitTypeDef sConfigOC = {0};
  TIM_BreakDeadTimeConfigTypeDef sBreakDeadTimeConfig = {0};

  htim1.Instance = TIM1;
  htim1.Init.Prescaler = 10;
  htim1.Init.CounterMode = TIM_COUNTERMODE_UP;
  htim1.Init.Period = 65535;
  htim1.Init.ClockDivision = TIM_CLOCKDIVISION_DIV1;
  htim1.Init.RepetitionCounter = 0;
  htim1.Init.AutoReloadPreload = TIM_AUTORELOAD_PRELOAD_DISABLE;
  if (HAL_TIM_Base_Init(&htim1) != HAL_OK)
  {
    Error_Handler();
  }
  sClockSourceConfig.ClockSource = TIM_CLOCKSOURCE_INTERNAL;
  if (HAL_TIM_ConfigClockSource(&htim1, &sClockSourceConfig) != HAL_OK)
  {
    Error_Handler();
  }
  if (HAL_TIM_PWM_Init(&htim1) != HAL_OK)
  {
    Error_Handler();
  }
  sMasterConfig.MasterOutputTrigger = TIM_TRGO_RESET;
  sMasterConfig.MasterSlaveMode = TIM_MASTERSLAVEMODE_DISABLE;
  if (HAL_TIMEx_MasterConfigSynchronization(&htim1, &sMasterConfig) != HAL_OK)
  {
    Error_Handler();
  }
  sConfigOC.OCMode = TIM_OCMODE_PWM1;
  sConfigOC.Pulse = 0;
  sConfigOC.OCPolarity = TIM_OCPOLARITY_HIGH;
  sConfigOC.OCNPolarity = TIM_OCNPOLARITY_HIGH;
  sConfigOC.OCFastMode = TIM_OCFAST_DISABLE;
  sConfigOC.OCIdleState = TIM_OCIDLESTATE_RESET;
  sConfigOC.OCNIdleState = TIM_OCNIDLESTATE_RESET;
  if (HAL_TIM_PWM_ConfigChannel(&htim1, &sConfigOC, TIM_CHANNEL_1) != HAL_OK)
  {
    Error_Handler();
  }
  if (HAL_TIM_PWM_ConfigChannel(&htim1, &sConfigOC, TIM_CHANNEL_2) != HAL_OK)
  {
    Error_Handler();
  }
  if (HAL_TIM_PWM_ConfigChannel(&htim1, &sConfigOC, TIM_CHANNEL_3) != HAL_OK)
  {
    Error_Handler();
  }
  sBreakDeadTimeConfig.OffStateRunMode = TIM_OSSR_DISABLE;
  sBreakDeadTimeConfig.OffStateIDLEMode = TIM_OSSI_DISABLE;
  sBreakDeadTimeConfig.LockLevel = TIM_LOCKLEVEL_OFF;
  sBreakDeadTimeConfig.DeadTime = 0;
  sBreakDeadTimeConfig.BreakState = TIM_BREAK_DISABLE;
  sBreakDeadTimeConfig.BreakPolarity = TIM_BREAKPOLARITY_HIGH;
  sBreakDeadTimeConfig.AutomaticOutput = TIM_AUTOMATICOUTPUT_DISABLE;
  if (HAL_TIMEx_ConfigBreakDeadTime(&htim1, &sBreakDeadTimeConfig) != HAL_OK)
  {
    Error_Handler();
  }
  HAL_TIM_MspPostInit(&htim1);

}

static void MX_TIM2_Init(void)
{

  TIM_ClockConfigTypeDef sClockSourceConfig = {0};
  TIM_MasterConfigTypeDef sMasterConfig = {0};
  TIM_OC_InitTypeDef sConfigOC = {0};

  htim2.Instance = TIM2;
  htim2.Init.Prescaler = 1;
  htim2.Init.CounterMode = TIM_COUNTERMODE_UP;
  htim2.Init.Period = 65535;
  htim2.Init.ClockDivision = TIM_CLOCKDIVISION_DIV1;
  htim2.Init.AutoReloadPreload = TIM_AUTORELOAD_PRELOAD_DISABLE;
  if (HAL_TIM_Base_Init(&htim2) != HAL_OK)
  {
    Error_Handler();
  }
  sClockSourceConfig.ClockSource = TIM_CLOCKSOURCE_INTERNAL;
  if (HAL_TIM_ConfigClockSource(&htim2, &sClockSourceConfig) != HAL_OK)
  {
    Error_Handler();
  }
  if (HAL_TIM_PWM_Init(&htim2) != HAL_OK)
  {
    Error_Handler();
  }
  sMasterConfig.MasterOutputTrigger = TIM_TRGO_RESET;
  sMasterConfig.MasterSlaveMode = TIM_MASTERSLAVEMODE_DISABLE;
  if (HAL_TIMEx_MasterConfigSynchronization(&htim2, &sMasterConfig) != HAL_OK)
  {
    Error_Handler();
  }
  sConfigOC.OCMode = TIM_OCMODE_PWM1;
  sConfigOC.Pulse = 0;
  sConfigOC.OCPolarity = TIM_OCPOLARITY_HIGH;
  sConfigOC.OCFastMode = TIM_OCFAST_DISABLE;
  if (HAL_TIM_PWM_ConfigChannel(&htim2, &sConfigOC, TIM_CHANNEL_2) != HAL_OK)
  {
    Error_Handler();
  }
  if (HAL_TIM_PWM_ConfigChannel(&htim2, &sConfigOC, TIM_CHANNEL_3) != HAL_OK)
  {
    Error_Handler();
  }
  if (HAL_TIM_PWM_ConfigChannel(&htim2, &sConfigOC, TIM_CHANNEL_4) != HAL_OK)
  {
    Error_Handler();
  }
  HAL_TIM_MspPostInit(&htim2);

}

static void MX_TIM3_Init(void)
{

  TIM_ClockConfigTypeDef sClockSourceConfig = {0};
  TIM_MasterConfigTypeDef sMasterConfig = {0};
  TIM_OC_InitTypeDef sConfigOC = {0};

  htim3.Instance = TIM3;
  htim3.Init.Prescaler = 10;
  htim3.Init.CounterMode = TIM_COUNTERMODE_UP;
  htim3.Init.Period = 65535;
  htim3.Init.ClockDivision = TIM_CLOCKDIVISION_DIV1;
  htim3.Init.AutoReloadPreload = TIM_AUTORELOAD_PRELOAD_DISABLE;
  if (HAL_TIM_Base_Init(&htim3) != HAL_OK)
  {
    Error_Handler();
  }
  sClockSourceConfig.ClockSource = TIM_CLOCKSOURCE_INTERNAL;
  if (HAL_TIM_ConfigClockSource(&htim3, &sClockSourceConfig) != HAL_OK)
  {
    Error_Handler();
  }
  if (HAL_TIM_PWM_Init(&htim3) != HAL_OK)
  {
    Error_Handler();
  }
  sMasterConfig.MasterOutputTrigger = TIM_TRGO_RESET;
  sMasterConfig.MasterSlaveMode = TIM_MASTERSLAVEMODE_DISABLE;
  if (HAL_TIMEx_MasterConfigSynchronization(&htim3, &sMasterConfig) != HAL_OK)
  {
    Error_Handler();
  }
  sConfigOC.OCMode = TIM_OCMODE_PWM1;
  sConfigOC.Pulse = 0;
  sConfigOC.OCPolarity = TIM_OCPOLARITY_HIGH;
  sConfigOC.OCFastMode = TIM_OCFAST_DISABLE;
  if (HAL_TIM_PWM_ConfigChannel(&htim3, &sConfigOC, TIM_CHANNEL_1) != HAL_OK)
  {
    Error_Handler();
  }
  if (HAL_TIM_PWM_ConfigChannel(&htim3, &sConfigOC, TIM_CHANNEL_2) != HAL_OK)
  {
    Error_Handler();
  }
  if (HAL_TIM_PWM_ConfigChannel(&htim3, &sConfigOC, TIM_CHANNEL_3) != HAL_OK)
  {
    Error_Handler();
  }
  if (HAL_TIM_PWM_ConfigChannel(&htim3, &sConfigOC, TIM_CHANNEL_4) != HAL_OK)
  {
    Error_Handler();
  }
  HAL_TIM_MspPostInit(&htim3);

}

static void MX_TIM4_Init(void)
{

  TIM_ClockConfigTypeDef sClockSourceConfig = {0};
  TIM_MasterConfigTypeDef sMasterConfig = {0};
  TIM_OC_InitTypeDef sConfigOC = {0};

  htim4.Instance = TIM4;
  htim4.Init.Prescaler = 10;
  htim4.Init.CounterMode = TIM_COUNTERMODE_UP;
  htim4.Init.Period = 65535;
  htim4.Init.ClockDivision = TIM_CLOCKDIVISION_DIV1;
  htim4.Init.AutoReloadPreload = TIM_AUTORELOAD_PRELOAD_DISABLE;
  if (HAL_TIM_Base_Init(&htim4) != HAL_OK)
  {
    Error_Handler();
  }
  sClockSourceConfig.ClockSource = TIM_CLOCKSOURCE_INTERNAL;
  if (HAL_TIM_ConfigClockSource(&htim4, &sClockSourceConfig) != HAL_OK)
  {
    Error_Handler();
  }
  if (HAL_TIM_PWM_Init(&htim4) != HAL_OK)
  {
    Error_Handler();
  }
  sMasterConfig.MasterOutputTrigger = TIM_TRGO_RESET;
  sMasterConfig.MasterSlaveMode = TIM_MASTERSLAVEMODE_DISABLE;
  if (HAL_TIMEx_MasterConfigSynchronization(&htim4, &sMasterConfig) != HAL_OK)
  {
    Error_Handler();
  }
  sConfigOC.OCMode = TIM_OCMODE_PWM1;
  sConfigOC.Pulse = 0;
  sConfigOC.OCPolarity = TIM_OCPOLARITY_HIGH;
  sConfigOC.OCFastMode = TIM_OCFAST_DISABLE;
  if (HAL_TIM_PWM_ConfigChannel(&htim4, &sConfigOC, TIM_CHANNEL_3) != HAL_OK)
  {
    Error_Handler();
  }
  if (HAL_TIM_PWM_ConfigChannel(&htim4, &sConfigOC, TIM_CHANNEL_4) != HAL_OK)
  {
    Error_Handler();
  }
  HAL_TIM_MspPostInit(&htim4);

}

static void MX_USART3_UART_Init(void)
{

  huart3.Instance = USART3;
  huart3.Init.BaudRate = 9600;
  huart3.Init.WordLength = UART_WORDLENGTH_8B;
  huart3.Init.StopBits = UART_STOPBITS_1;
  huart3.Init.Parity = UART_PARITY_NONE;
  huart3.Init.Mode = UART_MODE_TX_RX;
  huart3.Init.HwFlowCtl = UART_HWCONTROL_NONE;
  huart3.Init.OverSampling = UART_OVERSAMPLING_16;
  if (HAL_UART_Init(&huart3) != HAL_OK)
  {
    Error_Handler();
  }

}

static void MX_DMA_Init(void)
{

  /* DMA controller clock enable */
  __HAL_RCC_DMA1_CLK_ENABLE();

  /* DMA interrupt init */
  /* DMA1_Channel1_IRQn interrupt configuration */
  HAL_NVIC_SetPriority(DMA1_Channel1_IRQn, 0, 0);
  HAL_NVIC_EnableIRQ(DMA1_Channel1_IRQn);
  /* DMA1_Channel2_IRQn interrupt configuration */
  HAL_NVIC_SetPriority(DMA1_Channel2_IRQn, 0, 0);
  HAL_NVIC_EnableIRQ(DMA1_Channel2_IRQn);
  /* DMA1_Channel3_IRQn interrupt configuration */
  HAL_NVIC_SetPriority(DMA1_Channel3_IRQn, 0, 0);
  HAL_NVIC_EnableIRQ(DMA1_Channel3_IRQn);

}

static void MX_GPIO_Init(void)
{
  GPIO_InitTypeDef GPIO_InitStruct = {0};

  /* GPIO Ports Clock Enable */
  __HAL_RCC_GPIOC_CLK_ENABLE();
  __HAL_RCC_GPIOA_CLK_ENABLE();
  __HAL_RCC_GPIOB_CLK_ENABLE();
  __HAL_RCC_GPIOD_CLK_ENABLE();

  /*Configure GPIO pin Output Level */
  HAL_GPIO_WritePin(GPIOA, Dir1_Pin|Dir2_Pin, GPIO_PIN_RESET);

  /*Configure GPIO pin Output Level */
  HAL_GPIO_WritePin(En__GPIO_Port, En__Pin, GPIO_PIN_RESET);

  /*Configure GPIO pin Output Level */
  HAL_GPIO_WritePin(GPIOB, MODEM_12V_EN_Pin|RPI_5V_EN_Pin, GPIO_PIN_RESET);

  /*Configure GPIO pins : Dir1_Pin Dir2_Pin */
  GPIO_InitStruct.Pin = Dir1_Pin|Dir2_Pin;
  GPIO_InitStruct.Mode = GPIO_MODE_OUTPUT_PP;
  GPIO_InitStruct.Pull = GPIO_NOPULL;
  GPIO_InitStruct.Speed = GPIO_SPEED_FREQ_LOW;
  HAL_GPIO_Init(GPIOA, &GPIO_InitStruct);

  /*Configure GPIO pin : En__Pin */
  GPIO_InitStruct.Pin = En__Pin;
  GPIO_InitStruct.Mode = GPIO_MODE_OUTPUT_PP;
  GPIO_InitStruct.Pull = GPIO_NOPULL;
  GPIO_InitStruct.Speed = GPIO_SPEED_FREQ_LOW;
  HAL_GPIO_Init(En__GPIO_Port, &GPIO_InitStruct);

  /*Configure GPIO pins : MODEM_12V_EN_Pin RPI_5V_EN_Pin */
  GPIO_InitStruct.Pin = MODEM_12V_EN_Pin|RPI_5V_EN_Pin;
  GPIO_InitStruct.Mode = GPIO_MODE_OUTPUT_PP;
  GPIO_InitStruct.Pull = GPIO_NOPULL;
  GPIO_InitStruct.Speed = GPIO_SPEED_FREQ_LOW;
  HAL_GPIO_Init(GPIOB, &GPIO_InitStruct);

}

/* USER CODE BEGIN 4 */
int stdout_putchar(int ch)
{
  HAL_UART_Transmit(&huart3, (uint8_t *)&ch, 1, HAL_MAX_DELAY);
  return ch;
}
/* USER CODE END 4 */

void Error_Handler(void)
{
  __disable_irq();
  while (1)
  {
  }
}
